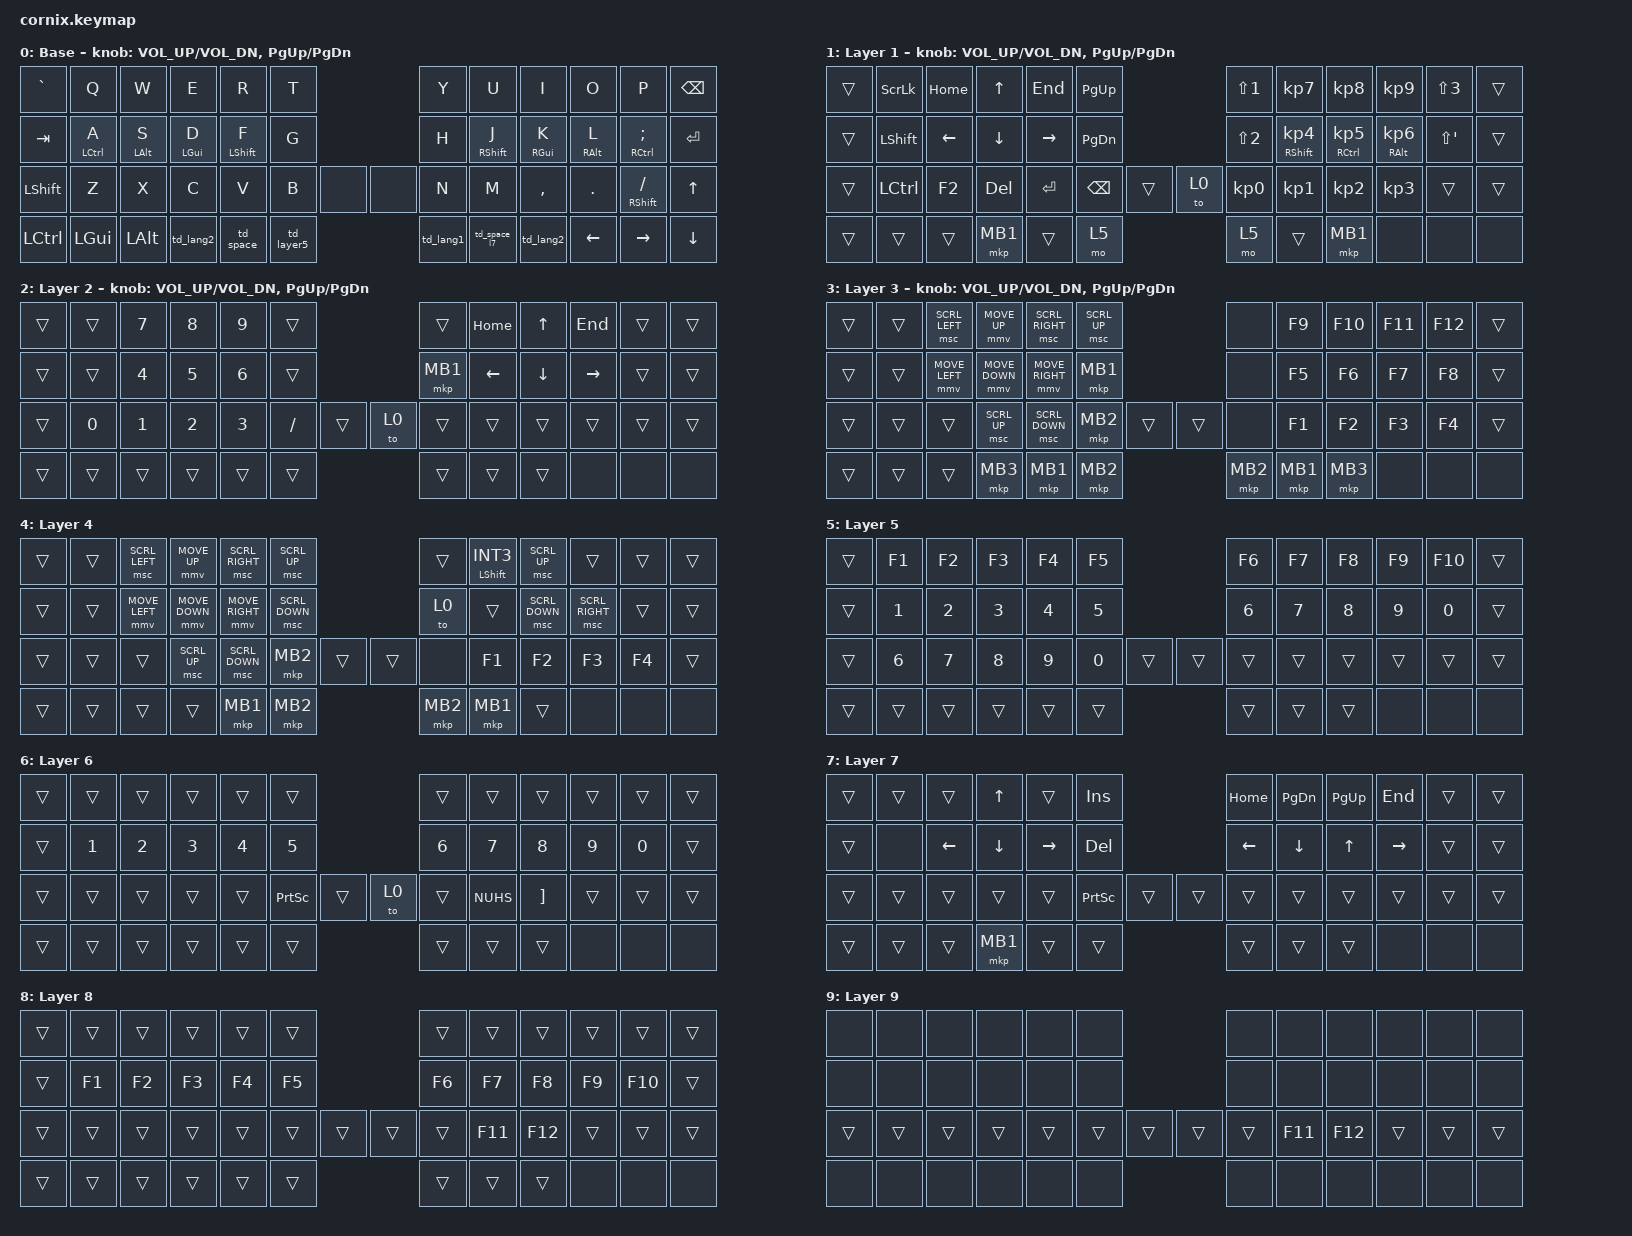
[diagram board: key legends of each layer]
/*
 * Copyright (c) 2020 The ZMK Contributors
 *
 * SPDX-License-Identifier: MIT
 */

#include "zmk-helpers/helper.h"
#include "includes/cornix54.h"
#include <behaviors.dtsi>
#include <dt-bindings/zmk/bt.h>
#include <dt-bindings/zmk/ext_power.h>
#include <dt-bindings/zmk/keys.h>
#include <dt-bindings/zmk/pointing.h>

// tap windows for ctl alt and gui
#define HM_TAPPING_TERM 250
#define HM_TAPPING_REPEAT 210

// quick tapping for shift
#define HM_TAPPING_TERM_FAST 200
#define HM_PRIOR_IDLE 70

// レイヤーインデックスの定義
#define BASE   0
#define L1     1
#define L2     2
#define L3     3
#define L4     4
#define L5     5
#define L6     6
#define L7     7
#define L8     8
#define L9     9

// https://github.com/urob/zmk-config/tree/main#timeless-homerow-mods
#define KEYS_L LT0 LT1 LT2 LT3 LT4 LT5 LM0 LM1 LM2 LM3 LM4 LM5 LB0 LB1 LB2 LB3 LB4 LB5  // left hand
#define KEYS_R RT0 RT1 RT2 RT3 RT4 RT5 RM0 RM1 RM2 RM3 RM4 RM5 RB0 RB1 RB2 RB3 RB4 RB5  // right hand
#define THUMBS LH1 LH0 RH0 RH1
#define KEYS_T LH1 LH0 RH0 RH1

// 重複定義エラーを防ぐための処理
#ifdef ZMK_POINTING_DEFAULT_SCRL_VAL
#undef ZMK_POINTING_DEFAULT_SCRL_VAL
#endif
#define ZMK_POINTING_DEFAULT_SCRL_VAL 15

/ {
    behaviors {
        hm_l: homerow_mods_left {
            compatible = "zmk,behavior-hold-tap";
            #binding-cells = <2>;
            bindings = <&kp>, <&kp>;

            flavor = "balanced";
            tapping-term-ms = <HM_TAPPING_TERM>;
            quick-tap-ms = <200>;
            require-prior-idle-ms = <HM_PRIOR_IDLE>;
            hold-trigger-key-positions = <KEYS_R KEYS_T>;
            hold-trigger-on-release;
        };

        hm_r: homerow_mods_right {
            compatible = "zmk,behavior-hold-tap";
            #binding-cells = <2>;
            bindings = <&kp>, <&kp>;

            flavor = "balanced";
            tapping-term-ms = <HM_TAPPING_TERM>;
            quick-tap-ms = <200>;
            require-prior-idle-ms = <HM_PRIOR_IDLE>;
            hold-trigger-key-positions = <KEYS_L KEYS_T>;
            hold-trigger-on-release;
        };

        hm_shift_l: hm_shift_l {
            compatible = "zmk,behavior-hold-tap";
            #binding-cells = <2>;
            bindings = <&kp>, <&kp>;

            flavor = "balanced";
            tapping-term-ms = <HM_TAPPING_TERM_FAST>;
            quick-tap-ms = <200>;
            require-prior-idle-ms = <HM_PRIOR_IDLE>;
            hold-trigger-key-positions = <KEYS_R KEYS_T>;
            hold-trigger-on-release;
        };

        hm_shift_r: hm_shift_r {
            compatible = "zmk,behavior-hold-tap";
            #binding-cells = <2>;
            bindings = <&kp>, <&kp>;

            flavor = "balanced";
            tapping-term-ms = <HM_TAPPING_TERM_FAST>;
            quick-tap-ms = <200>;
            require-prior-idle-ms = <HM_PRIOR_IDLE>;
            hold-trigger-key-positions = <KEYS_L KEYS_T>;
            hold-trigger-on-release;
        };

        hm: homerow_mods {
            compatible = "zmk,behavior-hold-tap";
            #binding-cells = <2>;
            bindings = <&kp>, <&kp>;

            flavor = "balanced";
            tapping-term-ms = <HM_TAPPING_TERM>;
            quick-tap-ms = <200>;
        };

        lt: layer_tap {
            compatible = "zmk,behavior-hold-tap";
            #binding-cells = <2>;
            bindings = <&mo>, <&kp>;

            flavor = "hold-preferred";
            tapping-term-ms = <HM_TAPPING_TERM>;
            quick-tap-ms = <200>;
        };

        // TD0: セミコロン / クォート
        td_semi: tap_dance_semi {
            compatible = "zmk,behavior-tap-dance";
            #binding-cells = <0>;
            tapping-term-ms = <120>;
            bindings = <&kp SEMI>, <&kp SQT>;
        };

        // TD1: 単押しスペース / ホールドでLayer 1 / 2回押しでLayer 1トグル
        td_space: tap_dance_space {
            compatible = "zmk,behavior-tap-dance";
            #binding-cells = <0>;
            tapping-term-ms = <120>;
            bindings = <&lt 1 SPACE>, <&tog 1>;
        };

        // TD2: 単押し「英数(LANG2)」 / ホールドでLayer 2
        td_lang1: tap_dance_lang1 {
            compatible = "zmk,behavior-tap-dance";
            #binding-cells = <0>;
            tapping-term-ms = <120>;
            bindings = <&lt 2 INT2>, <&kp INT2>;
        };

        // TD3: 単押し「かな(LANG1)」 / ホールドでLayer 3
        td_lang2: tap_dance_lang2 {
            compatible = "zmk,behavior-tap-dance";
            #binding-cells = <0>;
            tapping-term-ms = <120>;
            bindings = <&lt 3 INT1>, <&kp INT1>;
        };

        // TD5: ホールドでLayer 5 / 2回押しでLayer 5トグル
        td_layer5: tap_dance_l5 {
            compatible = "zmk,behavior-tap-dance";
            #binding-cells = <0>;
            tapping-term-ms = <250>;
            bindings = <&mo 5>, <&tog 5>;
        };

        // TD7: 単押しスペース / ホールドでLayer 7 / 2回押しでLayer 7トグル
        td_space_l7: tap_dance_space_l7 {
            compatible = "zmk,behavior-tap-dance";
            #binding-cells = <0>;
            tapping-term-ms = <250>;
            bindings = <&lt 7 SPACE>, <&tog 7>;
        };
    };

    combos {
        compatible = "zmk,combos";

        // Q + W ➔ F2
        combo_f2 {
            timeout-ms = <50>;
            key-positions = <1 2>;
            bindings = <&kp F2>;
        };

        // W + E ➔ F3
        combo_f3 {
            timeout-ms = <50>;
            key-positions = <2 3>;
            bindings = <&kp F3>;
        };

        // E + R ➔ F4
        combo_f4 {
            timeout-ms = <50>;
            key-positions = <3 4>;
            bindings = <&kp F4>;
        };

        // R + T ➔ F5
        combo_f5 {
            timeout-ms = <50>;
            key-positions = <4 5>;
            bindings = <&kp F5>;
        };

        // D + F ➔ # (JIS/USに応じたShift+3)
        combo_hash {
            timeout-ms = <50>;
            key-positions = <15 16>;
            bindings = <&kp LS(N3)>;
        };

        // F + G ➔ ( (Shift+8)
        combo_lparen {
            timeout-ms = <50>;
            key-positions = <16 17>;
            bindings = <&kp LS(N8)>;
        };

        // H + J ➔ ) (Shift+9)
        combo_rparen {
            timeout-ms = <50>;
            key-positions = <18 19>;
            bindings = <&kp LS(N9)>;
        };

        // J + K ➔ [
        combo_lbkt {
            timeout-ms = <50>;
            key-positions = <19 20>;
            bindings = <&kp LBKT>;
        };

        // K + L ➔ -
        combo_minus {
            timeout-ms = <50>;
            key-positions = <20 21>;
            bindings = <&kp MINUS>;
        };

        // L + ; ➔ '
        combo_quote {
            timeout-ms = <50>;
            key-positions = <21 22>;
            bindings = <&kp SQT>;
        };

        // V + B ➔ ]
        combo_rbkt {
            timeout-ms = <50>;
            key-positions = <28 29>;
            bindings = <&kp RBKT>;
        };

        // N + M ➔ \ (NONUS_HASH / RO)
        combo_backslash {
            timeout-ms = <50>;
            key-positions = <32 33>;
            bindings = <&kp BSLH>;
        };

        // COMMA + DOT ➔ \_ろ (INT1)
        combo_ro {
            timeout-ms = <50>;
            key-positions = <34 35>;
            bindings = <&kp INT1>;
        };

        // P + O ➔ =
        combo_equal {
            timeout-ms = <50>;
            key-positions = <9 10>;
            bindings = <&kp EQUAL>;
        };

        // BSPC + P ➔ ¥ (INT3)
        combo_yen {
            timeout-ms = <50>;
            key-positions = <10 11>;
            bindings = <&kp INT3>;
        };

        // GRAVE + TAB ➔ ESC
        combo_esc {
            timeout-ms = <50>;
            key-positions = <0 12>;
            bindings = <&kp ESC>;
        };
    };

    keymap {
        compatible = "zmk,keymap";

        default_layer {
            display-name = "Base";
            bindings = <
&kp GRAVE  &kp Q          &kp W         &kp E         &kp R                &kp T                      &kp Y      &kp U                &kp I            &kp O         &kp P             &kp BSPC
&kp TAB    &hm_l LCTRL A  &hm_l LALT S  &hm_l LGUI D  &hm_shift_l LSHFT F  &kp G                      &kp H      &hm_shift_r RSHFT J  &hm_r RGUI K     &hm_r RALT L  &hm_r RCTRL SEMI  &kp RET
&kp LSHFT  &kp Z          &kp X         &kp C         &kp V                &kp B      &none  &none    &kp N      &kp M                &kp COMMA        &kp DOT       &mt RSHFT FSLH    &kp UP
&kp LCTRL  &kp LGUI       &kp LALT      &td_lang2     &td_space            &td_layer5                 &td_lang1  &td_space_l7         &td_lang2        &kp LEFT      &kp RIGHT         &kp DOWN
            >;
            sensor-bindings = <&inc_dec_kp C_VOL_UP C_VOL_DN &inc_dec_kp PG_UP PG_DN>;
        };

        layer_1 {
            display-name = "Layer 1";
            bindings = <
&trans  &kp SLCK   &kp HOME  &kp UP    &kp END    &kp PG_UP                &kp LS(N1)  &kp KP_N7        &kp KP_N8        &kp KP_N9        &kp LS(N3)   &trans
&trans  &kp LSHFT  &kp LEFT  &kp DOWN  &kp RIGHT  &kp PG_DN                &kp LS(N2)  &mt RSHFT KP_N4  &mt RCTRL KP_N5  &mt RALT KP_N6   &kp LS(SQT)  &trans
&trans  &kp LCTRL  &kp F2    &kp DEL   &kp RET    &kp BSPC   &trans  &to 0 &kp KP_N0   &kp KP_N1        &kp KP_N2        &kp KP_N3        &trans       &trans
&trans  &trans     &trans    &mkp MB1  &trans     &mo 5                    &mo 5       &trans           &mkp MB1         &none            &none        &none
            >;
            sensor-bindings = <&inc_dec_kp C_VOL_UP C_VOL_DN &inc_dec_kp PG_UP PG_DN>;
        };

        layer_2 {
            display-name = "Layer 2";
            bindings = <
&trans  &trans  &kp N7  &kp N8  &kp N9  &trans                  &trans    &kp HOME  &kp UP    &kp END    &trans  &trans
&trans  &trans  &kp N4  &kp N5  &kp N6  &trans                  &mkp MB1  &kp LEFT  &kp DOWN  &kp RIGHT  &trans  &trans
&trans  &kp N0  &kp N1  &kp N2  &kp N3  &kp FSLH  &trans  &to 0 &trans    &trans    &trans    &trans     &trans  &trans
&trans  &trans  &trans  &trans  &trans  &trans                  &trans    &trans    &trans    &none      &none   &none
            >;
            sensor-bindings = <&inc_dec_kp C_VOL_UP C_VOL_DN &inc_dec_kp PG_UP PG_DN>;
        };

        layer_3 {
            display-name = "Layer 3";
            bindings = <
&trans  &trans  &msc SCRL_LEFT  &mmv MOVE_UP    &msc SCRL_RIGHT  &msc SCRL_UP                  &none     &kp F9    &kp F10   &kp F11   &kp F12   &trans
&trans  &trans  &mmv MOVE_LEFT  &mmv MOVE_DOWN  &mmv MOVE_RIGHT  &mkp MB1                      &none     &kp F5    &kp F6    &kp F7    &kp F8    &trans
&trans  &trans  &trans          &msc SCRL_UP    &msc SCRL_DOWN   &mkp MB2      &trans  &trans  &none     &kp F1    &kp F2    &kp F3    &kp F4    &trans
&trans  &trans  &trans          &mkp MB3        &mkp MB1         &mkp MB2                      &mkp MB2  &mkp MB1  &mkp MB3  &none     &none     &none
            >;
            sensor-bindings = <&inc_dec_kp C_VOL_UP C_VOL_DN &inc_dec_kp PG_UP PG_DN>;
        };

        layer_4 {
            display-name = "Layer 4";
            bindings = <
&trans  &trans  &msc SCRL_LEFT  &mmv MOVE_UP    &msc SCRL_RIGHT  &msc SCRL_UP                    &trans    &mt LSHFT INT3  &msc SCRL_UP    &trans           &trans  &trans
&trans  &trans  &mmv MOVE_LEFT  &mmv MOVE_DOWN  &mmv MOVE_RIGHT  &msc SCRL_DOWN                  &to 0     &trans          &msc SCRL_DOWN  &msc SCRL_RIGHT  &trans  &trans
&trans  &trans  &trans          &msc SCRL_UP    &msc SCRL_DOWN   &mkp MB2      &trans  &trans    &none     &kp F1          &kp F2          &kp F3           &kp F4  &trans
&trans  &trans  &trans          &trans          &mkp MB1         &mkp MB2                        &mkp MB2  &mkp MB1        &trans          &none            &none   &none
            >;
        };

        layer_5 {
            display-name = "Layer 5";
            bindings = <
&trans  &kp F1  &kp F2  &kp F3  &kp F4  &kp F5                  &kp F6  &kp F7  &kp F8  &kp F9  &kp F10  &trans
&trans  &kp N1  &kp N2  &kp N3  &kp N4  &kp N5                  &kp N6  &kp N7  &kp N8  &kp N9  &kp N0   &trans
&trans  &kp N6  &kp N7  &kp N8  &kp N9  &kp N0  &trans  &trans  &trans  &trans  &trans  &trans  &trans   &trans
&trans  &trans  &trans  &trans  &trans  &trans                  &trans  &trans  &trans  &none   &none    &none
            >;
        };

        layer_6 {
            display-name = "Layer 6";
            bindings = <
&trans  &trans  &trans  &trans  &trans  &trans                  &trans  &trans  &trans    &trans    &trans  &trans
&trans  &kp N1  &kp N2  &kp N3  &kp N4  &kp N5                  &kp N6  &kp N7  &kp N8    &kp N9    &kp N0  &trans
&trans  &trans  &trans  &trans  &trans  &kp PSCRN &trans &to 0  &trans  &kp NUHS  &kp RBKT  &trans    &trans  &trans
&trans  &trans  &trans  &trans  &trans  &trans                  &trans  &trans  &trans    &none     &none   &none
            >;
        };

        layer_7 {
            display-name = "Layer 7";
            bindings = <
&trans  &trans  &trans    &kp UP    &trans     &kp INS                  &kp HOME  &kp PG_DN  &kp PG_UP  &kp END    &trans  &trans
&trans  &none   &kp LEFT  &kp DOWN  &kp RIGHT  &kp DEL                  &kp LEFT  &kp DOWN   &kp UP     &kp RIGHT  &trans  &trans
&trans  &trans  &trans    &trans    &trans     &kp PSCRN &trans &trans  &trans    &trans     &trans     &trans     &trans  &trans
&trans  &trans  &trans    &mkp MB1  &trans     &trans                   &trans    &trans     &trans     &none      &none   &none
            >;
        };

        layer_8 {
            display-name = "Layer 8";
            bindings = <
&trans  &trans  &trans  &trans  &trans  &trans                  &trans  &trans  &trans   &trans   &trans  &trans
&trans  &kp F1  &kp F2  &kp F3  &kp F4  &kp F5                  &kp F6  &kp F7  &kp F8   &kp F9   &kp F10 &trans
&trans  &trans  &trans  &trans  &trans  &trans  &trans  &trans  &trans  &kp F11 &kp F12  &trans   &trans  &trans
&trans  &trans  &trans  &trans  &trans  &trans                  &trans  &trans  &trans   &none    &none   &none
            >;
        };

        layer_9 {
            display-name = "Layer 9";
            bindings = <
&none  &none  &none  &none  &none  &none                &none  &none  &none  &none  &none  &none
&none  &none  &none  &none  &none  &none                &none  &none  &none  &none  &none  &none
&trans  &trans  &trans  &trans  &trans  &trans  &trans  &trans  &trans  &kp F11 &kp F12  &trans   &trans  &trans
&none  &none  &none  &none  &none  &none                &none  &none  &none  &none  &none  &none
            >;
        };
    };
};
